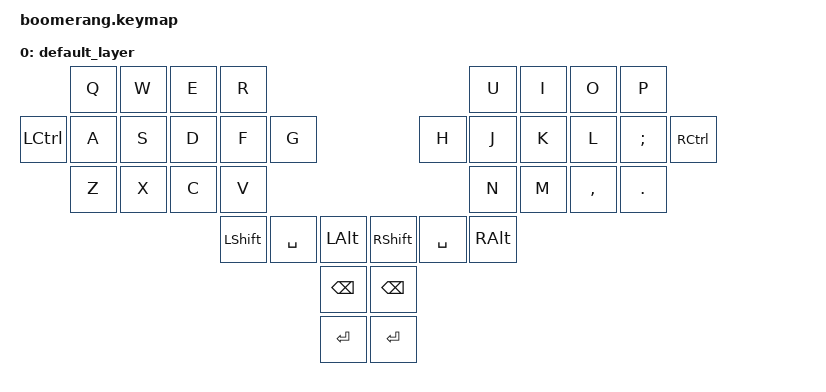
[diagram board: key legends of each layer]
#include <behaviors.dtsi>
#include <dt-bindings/zmk/keys.h>
#include <dt-bindings/zmk/bt.h>

#define ENT ENTER
#define BS BACKSPACE
#define SP SPACE

/ {
    keymap {
		compatible = "zmk,keymap";

		default_layer { // Layer 0
			bindings = <
				&kp Q   &kp W   &kp E   &kp R												&kp U   &kp I   &kp O   	&kp P
	&kp LCTRL	&kp A   &kp S   &kp D   &kp F   	&kp G							&kp H	&kp J   &kp K   &kp L   	&kp SEMI   &kp RCTRL
				&kp Z   &kp X   &kp C   &kp V												&kp N   &kp M   &kp COMMA   &kp DOT
										&kp LSHIFT	&kp SP	&kp LALT	&kp RSHIFT	&kp SP	&kp RALT
															&kp BS		&kp BS
															&kp ENT		&kp ENT
			>;
		};
    };
 };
